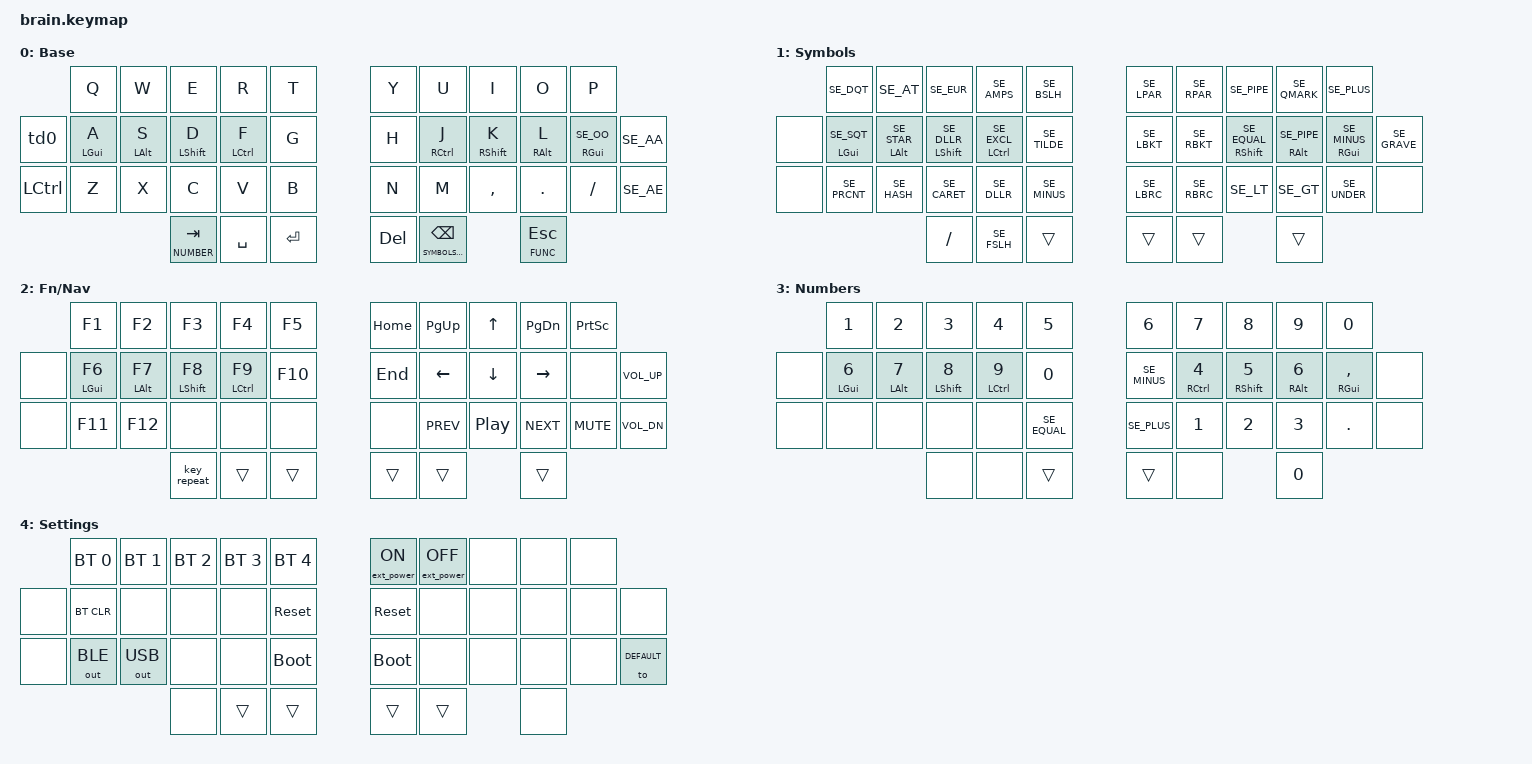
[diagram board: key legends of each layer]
/*
 * Copyright (c) 2020 The ZMK Contributors
 *
 * SPDX-License-Identifier: MIT
 */

#include <behaviors.dtsi>
#include <dt-bindings/zmk/keys.h>
#include <dt-bindings/zmk/bt.h>
#include <dt-bindings/zmk/outputs.h>
#include <dt-bindings/zmk/ext_power.h>
#include "swe_keys.h"

#define DEFAULT     0
#define SYMBOLS_SWE 1
#define FUNC        2
#define NUMBER      3
#define SETTINGS    4


&lt {
    tapping-term-ms = <200>;
    quick-tap-ms = <200>;
};

/ {
    behaviors {
        hm: homerow_mods {
            compatible = "zmk,behavior-hold-tap";
            label = "HOMEROW_MODS";
            #binding-cells = <2>;
            tapping-term-ms = <200>;
            quick-tap-ms = <200>;
            flavor = "tap-preferred";
            bindings = <&kp>, <&kp>;
        };
        hs: homerow_mods_slow {
            compatible = "zmk,behavior-hold-tap";
            label = "HOMEROW_MODS_SLOW";
            #binding-cells = <2>;
            tapping-term-ms = <300>;
            quick-tap-ms = <300>;
            flavor = "tap-preferred";
            bindings = <&kp>, <&kp>;
        };
        td0: tap_dance_0 {
            compatible = "zmk,behavior-tap-dance";
            #binding-cells = <0>;
            tapping-term-ms = <200>;
            bindings = <&kp LSHIFT>, <&kp CAPS>, <&caps_word>;
        };
    };
    cond_layers {
        compatible = "zmk,conditional-layers";
        // Define SETTINGS layer as tri-state
        func_tristate {
            if-layers = <SYMBOLS_SWE FUNC>;
            then-layer = <SETTINGS>;
        };
    };

/*           40 Keys
╭─────────────────╮ ╭─────────────────╮
│    0  1  2  3  4│ │ 5  6  7  8  9   │
│10 11 12 13 14 15│ │16 17 18 19 20 21│
│22 23 24 25 26 27│ │28 29 30 31 32 33│
╰────────╮34 35 36│ │37 38 39╭────────╯
         ╰────────╯ ╰────────╯       */

      combos {
        compatible = "zmk,combos";

        combo_settings {
            timeout-ms = <50>;
            key-positions = <34 35>;
            bindings = <&mo SETTINGS>;
        };
      };
/*    combos {
        compatible = "zmk,combos";

        combo_esc {
            timeout-ms = <50>;
            key-positions = <0 1>;
            bindings = <&kp ESC>;
        };
        combo_tab {
            timeout-ms = <50>;
            key-positions = <10 11>;
            bindings = <&kp TAB>;
        };
        combo_ralt {
            timeout-ms = <50>;
            key-positions = <17 16>;
            bindings = <&kp RALT>;
        };
        combo_lalt {
            timeout-ms = <50>;
            key-positions = <11 12>;
            bindings = <&kp LALT>;
        };
        combo_lgui {
            timeout-ms = <50>;
            key-positions = <12 13>;
            bindings = <&kp LGUI>;
        };
        combo_rgui {
            timeout-ms = <50>;
            key-positions = <17 18>;
            bindings = <&kp RGUI>;
        };
    }; */


    keymap {
        compatible = "zmk,keymap";

        default_layer {
            display-name = "Base";
            bindings = <
                        &kp Q       &kp W       &kp E           &kp R           &kp T                        &kp Y                 &kp U        &kp I         &kp O       &kp P
            &td0        &hs LGUI A  &hm LALT S  &hm LSHIFT D    &hm LCTRL F     &kp G                        &kp H                 &hm RCTRL J  &hm RSHIFT K  &hm RALT L  &hs RGUI SE_OO &kp SE_AA
            &kp LCTRL   &kp Z       &kp X       &kp C           &kp V           &kp B                        &kp N                 &kp M        &kp COMMA     &kp DOT     &kp SLASH      &kp SE_AE
                                                &lt NUMBER TAB  &kp SPACE       &kp RET                      &kp DEL               &lt SYMBOLS_SWE BSPC       &lt FUNC ESC
            >;
        };
        symbols_swe_layer {
            display-name = "Symbols";
            bindings = <
                   &kp SE_DQT       &kp SE_AT         &kp SE_EUR          &kp SE_AMPS         &kp SE_BSLH                      &kp SE_LPAR      &kp SE_RPAR         &kp SE_PIPE          &kp SE_QMARK      &kp SE_PLUS
            &none  &hs LGUI SE_SQT  &hm LALT SE_STAR  &hm LSHIFT SE_DLLR  &hm LCTRL SE_EXCL   &kp SE_TILDE                     &kp SE_LBKT      &kp SE_RBKT         &hm RSHIFT SE_EQUAL  &hm RALT SE_PIPE  &hm RGUI SE_MINUS     &kp SE_GRAVE
            &none  &kp SE_PRCNT     &kp SE_HASH       &kp SE_CARET        &kp SE_DLLR         &kp SE_MINUS                     &kp SE_LBRC      &kp SE_RBRC         &kp SE_LT            &kp SE_GT         &kp SE_UNDER          &none
                                                                          &kp SLASH           &kp SE_FSLH  &trans      &trans  &trans        &trans
            >;
        }; 

        func_layer {
            display-name = "Fn/Nav";
            bindings = <
                   &kp F1         &kp F2       &kp F3          &kp F4            &kp F5                   &kp HOME    &kp PG_UP  &kp UP      &kp PG_DN   &kp PSCRN
            &none  &hs LGUI F6    &hm LALT F7  &hm LSHIFT F8   &hm LCTRL F9      &kp F10                  &kp END     &kp LEFT   &kp DOWN    &kp RIGHT   &none       &kp C_VOL_UP
            &none  &kp F11        &kp F12      &none           &none             &none                    &none       &kp C_PREV &kp C_PP    &kp C_NEXT  &kp K_MUTE  &kp C_VOL_DN
                                                               &key_repeat       &trans   &trans  &trans  &trans      &trans
            >;
        };

        number_layer {
            display-name = "Numbers";
            bindings = <
                   &kp N1       &kp N2      &kp N3         &kp N4        &kp N5                         &kp N6        &kp N7        &kp N8         &kp N9       &kp N0
            &none  &hs LGUI  N6 &hm LALT N7 &hm LSHIFT N8  &hm LCTRL N9  &kp N0                         &kp SE_MINUS  &hm RCTRL N4  &hm RSHIFT N5  &hm RALT N6  &hm RGUI COMMA  &none
            &none  &none        &none       &none          &none         &kp SE_EQUAL                   &kp SE_PLUS   &kp N1        &kp N2         &kp N3       &kp DOT         &none
                                                           &none         &none         &trans   &trans  &none         &kp N0
            >;
        };

        settings_layer {
            display-name = "Settings";
            bindings = <
                   &bt BT_SEL 0  &bt BT_SEL 1  &bt BT_SEL 2  &bt BT_SEL 3  &bt BT_SEL 4                   &ext_power EP_ON  &ext_power EP_OFF  &none  &none  &none
            &none  &bt BT_CLR    &none         &none         &none         &sys_reset                     &sys_reset        &none              &none  &none  &none  &none
            &none  &out OUT_BLE  &out OUT_USB  &none         &none         &bootloader                    &bootloader       &none              &none  &none  &none  &to DEFAULT
                                                             &none         &trans        &trans   &trans  &trans            &none
            >;
        };
    };
};
